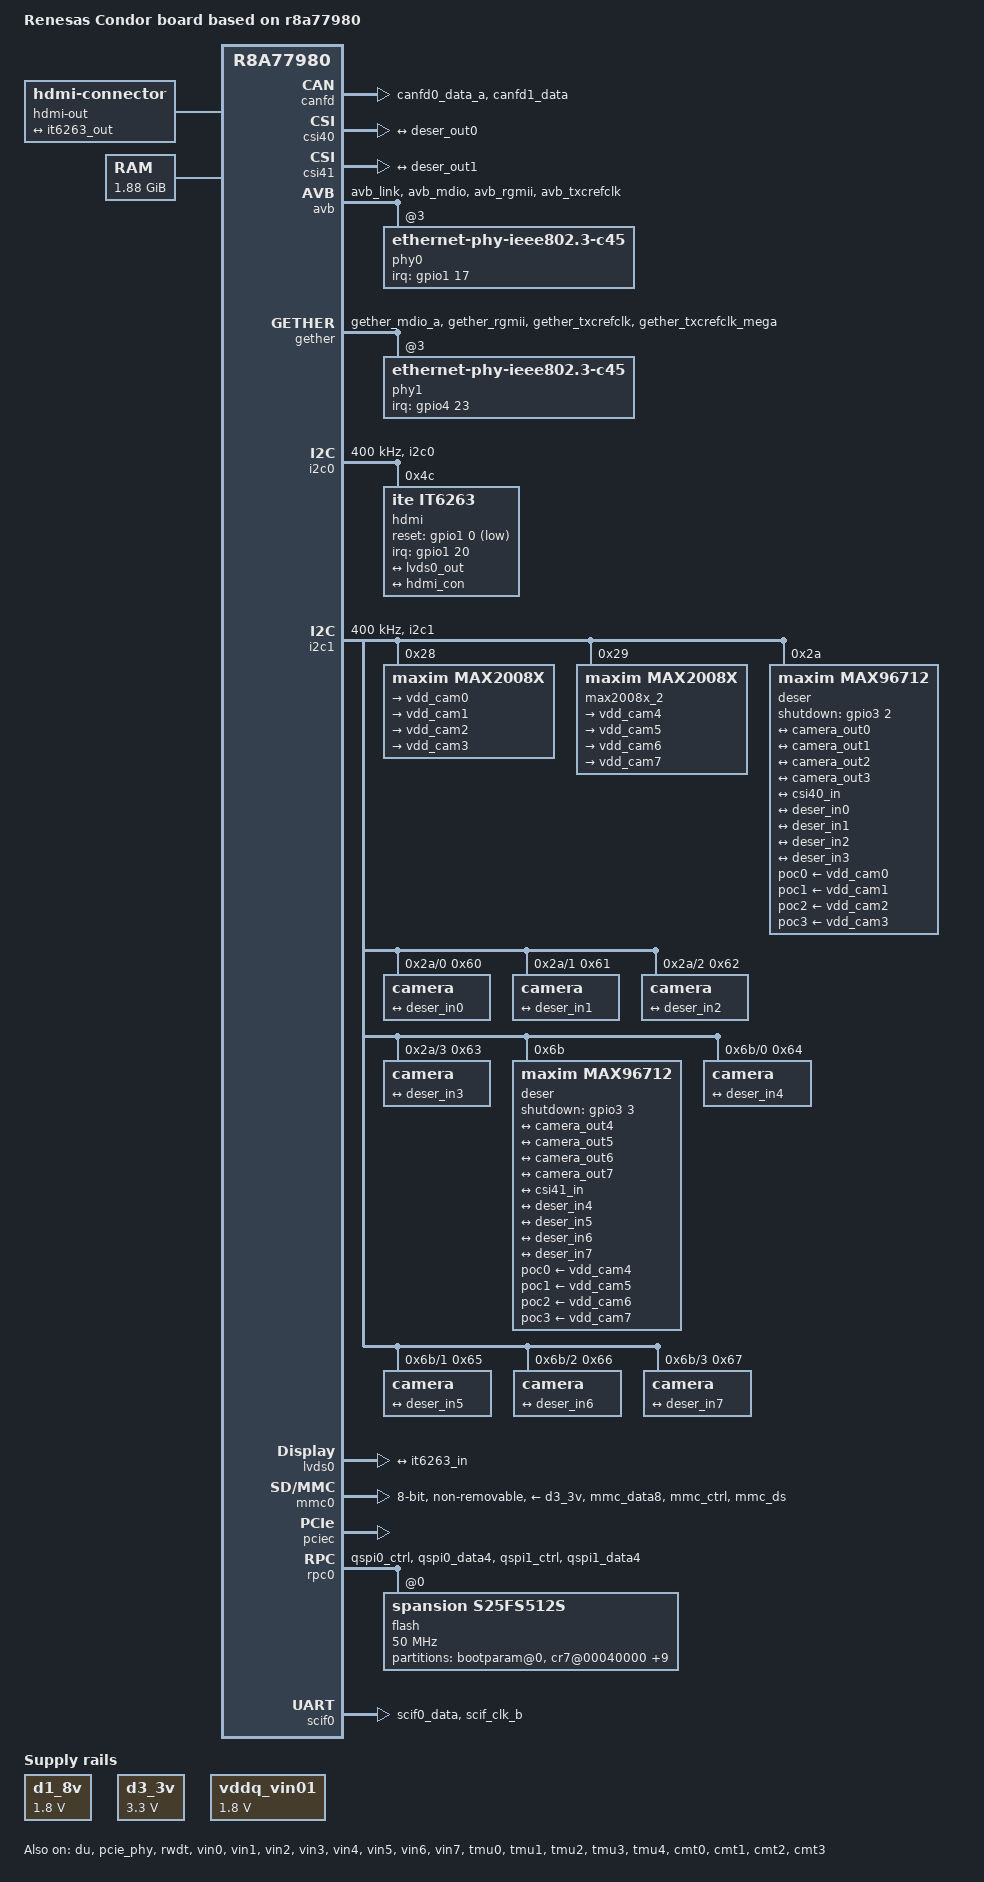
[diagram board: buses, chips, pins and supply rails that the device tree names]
// SPDX-License-Identifier: GPL-2.0
/*
 * Device Tree Source for the Condor board
 *
 * Copyright (C) 2018-2020 Renesas Electronics Corp.
 * Copyright (C) 2018-2020 Cogent Embedded, Inc.
 */

/dts-v1/;
#include "r8a77980.dtsi"
#include <dt-bindings/gpio/gpio.h>
#include "camera.dtsi"

#define CAMERA_OV10635 	0
#define CAMERA_AR0233		1
#define CAMERA_OX03F10		2

#define CAMERA_2A CAMERA_OX03F10		//video0 ~ video3
#define CAMERA_6B CAMERA_AR0233			//video4 ~ video7



/ {
	model = "Renesas Condor board based on r8a77980";
	compatible = "renesas,condor", "renesas,r8a77980";

	aliases {
		serial0 = &scif0;
		ethernet0 = &gether;
	};

	chosen {
		stdout-path = "serial0:115200n8";
	};

	d1_8v: regulator-2 {
		compatible = "regulator-fixed";
		regulator-name = "D1.8V";
		regulator-min-microvolt = <1800000>;
		regulator-max-microvolt = <1800000>;
		regulator-boot-on;
		regulator-always-on;
	};

	d3_3v: regulator-0 {
		compatible = "regulator-fixed";
		regulator-name = "D3.3V";
		regulator-min-microvolt = <3300000>;
		regulator-max-microvolt = <3300000>;
		regulator-boot-on;
		regulator-always-on;
	};

	hdmi-out {
		compatible = "hdmi-connector";
		type = "a";

		port {
			hdmi_con: endpoint {
				remote-endpoint = <&it6263_out>;
			};
		};
	};

	memory@48000000 {
		device_type = "memory";
		/* first 128MB is reserved for secure area. */
		reg = <0 0x48000000 0 0x78000000>;
	};

	reserved-memory {
		#address-cells = <2>;
		#size-cells = <2>;
		ranges;

		/* device specific region for contiguous allocations */
		mmp_reserved: linux,multimedia@7f000000 {
			compatible = "shared-dma-pool";
			reusable;
			reg = <0x00000000 0x7f000000 0x0 0x01000000>;
		};
	};

	reserved-memory {
		#address-cells = <2>;
		#size-cells = <2>;
		ranges;

		/* global autoconfigured region for contiguous allocations */
		linux,cma@58000000 {
			compatible = "shared-dma-pool";
			reusable;
			reg = <0x00000000 0x58000000 0x0 0x18000000>;
			linux,cma-default;
		};
	};

	mmngr {
		compatible = "renesas,mmngr";
		memory-region = <&mmp_reserved>;
	};

	mmngrbuf {
		compatible = "renesas,mmngrbuf";
	};

	vddq_vin01: regulator-1 {
		compatible = "regulator-fixed";
		regulator-name = "VDDQ_VIN01";
		regulator-min-microvolt = <1800000>;
		regulator-max-microvolt = <1800000>;
		regulator-boot-on;
		regulator-always-on;
	};

	x1_clk: x1-clock {
		compatible = "fixed-clock";
		#clock-cells = <0>;
		clock-frequency = <148500000>;
	};
	

};

&canfd {
	pinctrl-0 = <&canfd0_pins &canfd1_pins>;
	pinctrl-names = "default";
	status = "okay";

	channel0 {
		status = "okay";
	};

	channel1 {
		status = "okay";
	};
};

&csi40 {
	status = "okay";

	ports {
		#address-cells = <1>;
		#size-cells = <0>;

		port@0 {
			reg = <0>;

			csi40_in: endpoint {
				clock-lanes = <0>;
				data-lanes = <1 2 3 4>;
				remote-endpoint = <&deser_out0>;
			};
		};
	};
};

&csi41 {
	status = "okay";

	ports {
		#address-cells = <1>;
		#size-cells = <0>;

		port@0 {
			reg = <0>;

			csi41_in: endpoint {
				clock-lanes = <0>;
				data-lanes = <1 2 3 4>;
				remote-endpoint = <&deser_out1>;
			};
		};
	};
};

&du {
	clocks = <&cpg CPG_MOD 724>,
		 <&x1_clk>;
	clock-names = "du.0", "dclkin.0";
	status = "okay";
};

&extal_clk {
	clock-frequency = <16666666>;
};

&extalr_clk {
	clock-frequency = <32768>;
};

&avb {
	pinctrl-0 = <&avb_pins>;
	pinctrl-names = "default";

	phy-mode = "rgmii";
	phy-handle = <&phy0>;
	renesas,no-ether-link;
	status = "okay";

	phy0: eavb-phy@3 {
		compatible = "ethernet-phy-ieee802.3-c45";
		reg = <3>;
		interrupt-parent = <&gpio1>;
		interrupts = <17 IRQ_TYPE_LEVEL_LOW>;
	};
};

&gether {
	pinctrl-0 = <&gether_pins>;
	pinctrl-names = "default";

	phy-mode = "rgmii";
	phy-handle = <&phy1>;
	renesas,no-ether-link;
	status = "okay";

	phy1: ethernet-phy@3 {
		compatible = "ethernet-phy-ieee802.3-c45";
		reg = <3>;
		interrupt-parent = <&gpio4>;
		interrupts = <23 IRQ_TYPE_LEVEL_LOW>;
	};
};

&i2c0 {
	pinctrl-0 = <&i2c0_pins>;
	pinctrl-names = "default";

	status = "okay";
	clock-frequency = <400000>;

	hdmi@4c {
		compatible = "ite,it6263";
		reg = <0x4c>;
		interrupt-parent = <&gpio1>;
		interrupts = <20 IRQ_TYPE_EDGE_BOTH>;
		reset-gpio = <&gpio1 0 GPIO_ACTIVE_LOW>;
		status = "okay";

		ports {
			#address-cells = <1>;
			#size-cells = <0>;

			port@0 {
				reg = <0>;
				it6263_in: endpoint {
					remote-endpoint = <&lvds0_out>;
				};
			};

			port@1 {
				reg = <1>;
				it6263_out: endpoint {
					remote-endpoint = <&hdmi_con>;
				};
			};
		};
	};
};

&i2c1 {
	pinctrl-0 = <&i2c1_pins>;
	pinctrl-names = "default";
	#address-cells = <1>;
	#size-cells = <0>;
	status = "okay";
	clock-frequency = <400000>;

	max2008x@28 {
		compatible = "maxim,max2008x";
		reg = <0x28>;
		#io-channel-cells = <1>;

		regulators {
			#address-cells = <1>;
			#size-cells = <0>;

			vdd_cam0: SW0 {
				reg = <0>;
				regulator-name = "Camera-0";
			};
			vdd_cam1: SW1 {
				reg = <1>;
				regulator-name = "Camera-1";
			};
			vdd_cam2: SW2 {
				reg = <2>;
				regulator-name = "Camera-2";
			};
			vdd_cam3: SW3 {
				reg = <3>;
				regulator-name = "Camera-3";
			};
		};
	};

	max2008x_2@29 {
		compatible = "maxim,max2008x";
		reg = <0x29>;
		#io-channel-cells = <1>;

		regulators {
			#address-cells = <1>;
			#size-cells = <0>;

			vdd_cam4: SW0 {
				reg = <0>;
				regulator-name = "Camera-4";
			};
			vdd_cam5: SW1 {
				reg = <1>;
				regulator-name = "Camera-5";
			};
			vdd_cam6: SW2 {
				reg = <2>;
				regulator-name = "Camera-6";
			};
			vdd_cam7: SW3 {
				reg = <3>;
				regulator-name = "Camera-7";
			};
		};
	};

	deser@2a {
		compatible = "maxim,max96712";
		#address-cells = <1>;
		#size-cells = <0>;
		reg = <0x2a>;
		regs = <0x0c 0x0d 0x0e 0x0f>;
		shutdown-gpios = <&gpio3 2 GPIO_ACTIVE_HIGH>;
		maxim,links-mipi-map = <1 1 1 1>;
		
#if (CAMERA_2A == CAMERA_OV10635)
		maxim,dt = <0x1e>;
		maxim,gmsl = <1>;
		maxim,hsync = <0>;
		maxim,vsync = <0>;
		maxim,de = <1>;
#elif (CAMERA_2A == CAMERA_OX03F10)
		maxim,dt = <0x2b>;
		maxim,gmsl = <2>;
		maxim,hsync = <1>;
		maxim,vsync = <1>;
		maxim,de = <1>;
		maxim,gmsl-rate = <1>;//1 for 3Gbps, 2 for 6Gbps
#elif (CAMERA_2A == CAMERA_AR0233)
		maxim,dt = <0x2c>;
		maxim,gmsl = <2>;
		maxim,hsync = <1>;
		maxim,vsync = <1>;
		maxim,de = <1>;
		maxim,gmsl-rate = <2>;//1 for 3Gbps, 2 for 6Gbps
#endif

		poc0-supply = <&vdd_cam0>;
		poc1-supply = <&vdd_cam1>;
		poc2-supply = <&vdd_cam2>;
		poc3-supply = <&vdd_cam3>;

		ports {
			#address-cells = <1>;
			#size-cells = <0>;

			port@0 {
				reg = <0>;
				deser_in0: endpoint {
					remote-endpoint = <&camera_out0>;
				};
			};

			port@1 {
				reg = <1>;
				deser_in1: endpoint {
					remote-endpoint = <&camera_out1>;
				};
			};

			port@2 {
				reg = <2>;
				deser_in2: endpoint {
					remote-endpoint = <&camera_out2>;
				};
			};

			port@3 {
				reg = <3>;
				deser_in3: endpoint {
					remote-endpoint = <&camera_out3>;
				};
			};

			port@4 {
				reg = <4>;
				deser_out0: endpoint {
					clock-lanes = <0>;
					data-lanes = <1 2 3 4>;
					remote-endpoint = <&csi40_in>;
				};
			};
		};

		i2c@0 {
			#address-cells = <1>;
			#size-cells = <0>;
			reg = <0>;

			camera@60 {
				compatible = LVDS_CAMERA;
				reg = <0x60 0x0c>;

				port {
					camera_out0: endpoint {
						remote-endpoint = <&deser_in0>;
					};
				};
			};
		};

		i2c@1 {
			#address-cells = <1>;
			#size-cells = <0>;
			reg = <1>;

			camera@61 {
				compatible = LVDS_CAMERA;
				reg = <0x61 0x0d>;

				port {
					camera_out1: endpoint {
						remote-endpoint = <&deser_in1>;
					};
				};
			};
		};

		i2c@2 {
			#address-cells = <1>;
			#size-cells = <0>;
			reg = <2>;

			camera@62 {
				compatible = LVDS_CAMERA;
				reg = <0x62 0x0e>;

				port {
					camera_out2: endpoint {
						remote-endpoint = <&deser_in2>;
					};
				};
			};
		};

		i2c@3 {
			#address-cells = <1>;
			#size-cells = <0>;
			reg = <3>;

			camera@63 {
				compatible = LVDS_CAMERA;
				reg = <0x63 0x0f>;

				port {
					camera_out3: endpoint {
						remote-endpoint = <&deser_in3>;
					};
				};
			};
		};
	};
	
	deser@6b {
		compatible = "maxim,max96712";
		#address-cells = <1>;
		#size-cells = <0>;
		reg = <0x6b>;
		regs = <0x1c 0x1d 0x1e 0x1f>;
		shutdown-gpios = <&gpio3 3 GPIO_ACTIVE_HIGH>;
		maxim,links-mipi-map = <1 1 1 1>;

#if (CAMERA_6B == CAMERA_OV10635)
		maxim,dt = <0x1e>;
		maxim,gmsl = <1>;
		maxim,hsync = <0>;
		maxim,vsync = <0>;
		maxim,de = <1>;
#elif (CAMERA_6B == CAMERA_OX03F10)
		maxim,dt = <0x2b>;
		maxim,gmsl = <2>;
		maxim,hsync = <1>;
		maxim,vsync = <1>;
		maxim,de = <1>;
		maxim,gmsl-rate = <1>;//1 for 3Gbps, 2 for 6Gbps
#elif (CAMERA_6B == CAMERA_AR0233)
		maxim,dt = <0x2c>;
		maxim,gmsl = <2>;
		maxim,hsync = <1>;
		maxim,vsync = <1>;
		maxim,de = <1>;
		maxim,gmsl-rate = <2>;//1 for 3Gbps, 2 for 6Gbps
#endif

		poc0-supply = <&vdd_cam4>;
		poc1-supply = <&vdd_cam5>;
		poc2-supply = <&vdd_cam6>;
		poc3-supply = <&vdd_cam7>;

		ports {
			#address-cells = <1>;
			#size-cells = <0>;

			port@0 {
				reg = <0>;
				deser_in4: endpoint {
					remote-endpoint = <&camera_out4>;
				};
			};

			port@1 {
				reg = <1>;
				deser_in5: endpoint {
					remote-endpoint = <&camera_out5>;
				};
			};

			port@2 {
				reg = <2>;
				deser_in6: endpoint {
					remote-endpoint = <&camera_out6>;
				};
			};

			port@3 {
				reg = <3>;
				deser_in7: endpoint {
					remote-endpoint = <&camera_out7>;
				};
			};

			port@4 {
				reg = <4>;
				deser_out1: endpoint {
					clock-lanes = <0>;
					data-lanes = <1 2 3 4>;
					remote-endpoint = <&csi41_in>;
				};
			};
		};

		i2c@0 {
			#address-cells = <1>;
			#size-cells = <0>;
			reg = <0>;

			camera@64 {
				compatible = LVDS_CAMERA;
				reg = <0x64 0x1c>;

				port {
					camera_out4: endpoint {
						remote-endpoint = <&deser_in4>;
					};
				};
			};
		};

		i2c@1 {
			#address-cells = <1>;
			#size-cells = <0>;
			reg = <1>;

			camera@65 {
				compatible = LVDS_CAMERA;
				reg = <0x65 0x1d>;

				port {
					camera_out5: endpoint {
						remote-endpoint = <&deser_in5>;
					};
				};
			};
		};

		i2c@2 {
			#address-cells = <1>;
			#size-cells = <0>;
			reg = <2>;

			camera@66 {
				compatible = LVDS_CAMERA;
				reg = <0x66 0x1e>;

				port {
					camera_out6: endpoint {
						remote-endpoint = <&deser_in6>;
					};
				};
			};
		};

		i2c@3 {
			#address-cells = <1>;
			#size-cells = <0>;
			reg = <3>;

			camera@67 {
				compatible = LVDS_CAMERA;
				reg = <0x67 0x1f>;

				port {
					camera_out7: endpoint {
						remote-endpoint = <&deser_in7>;
					};
				};
			};
		};
	};
};

&lvds0 {
	status = "okay";

	ports {
		port@1 {
			lvds0_out: endpoint {
				remote-endpoint = <&it6263_in>;
			};
		};
	};
};

&mmc0 {
	pinctrl-0 = <&mmc_pins>;
	pinctrl-1 = <&mmc_pins>;
	pinctrl-names = "default", "state_uhs";

	vmmc-supply = <&d3_3v>;
	vqmmc-supply = <&vddq_vin01>;
	mmc-hs200-1_8v;
	bus-width = <8>;
	non-removable;
	status = "okay";
};

&pciec {
	status = "okay";
};

&pcie_bus_clk {
	clock-frequency = <100000000>;
};

&pcie_phy {
	status = "okay";
};

&pfc {
	canfd0_pins: canfd0 {
		groups = "canfd0_data_a";
		function = "canfd0";
	};

	canfd1_pins: canfd1 {
		groups = "canfd1_data";
		function = "canfd1";
	};

	avb_pins: avb {
		groups = "avb_link", "avb_mdio", "avb_rgmii", "avb_txcrefclk";
		function = "avb";
	};

	gether_pins: gether {
		groups = "gether_mdio_a", "gether_rgmii",
			 "gether_txcrefclk", "gether_txcrefclk_mega";
		function = "gether";
	};

	i2c0_pins: i2c0 {
		groups = "i2c0";
		function = "i2c0";
	};

	i2c1_pins: i2c1 {
		groups = "i2c1";
		function = "i2c1";
	};

	mmc_pins: mmc {
		groups = "mmc_data8", "mmc_ctrl", "mmc_ds";
		function = "mmc";
		power-source = <1800>;
	};

	qspi0_pins: qspi0 {
		groups = "qspi0_ctrl", "qspi0_data4";
		function = "qspi0";
	};

	qspi1_pins: qspi1 {
		groups = "qspi1_ctrl", "qspi1_data4";
		function = "qspi1";
	};

	scif0_pins: scif0 {
		groups = "scif0_data";
		function = "scif0";
	};

	scif_clk_pins: scif_clk {
		groups = "scif_clk_b";
		function = "scif_clk";
	};
};

&rpc0 {
	pinctrl-0 = <&qspi0_pins &qspi1_pins>;
	pinctrl-names = "default";

	status = "okay";

	flash@0 {
		compatible = "spansion,s25fs512s", "jedec,spi-nor";
		reg = <0>;
		spi-max-frequency = <50000000>;
		spi-rx-bus-width = <4>;

		partitions {
			compatible = "fixed-partitions";
			#address-cells = <1>;
			#size-cells = <1>;

			bootparam@0 {
				reg = <0x00000000 0x040000>;
				read-only;
			};
			cr7@00040000 {
				reg = <0x00040000 0x080000>;
				read-only;
			};
			cert_header_sa3@000C0000 {
				reg = <0x000C0000 0x080000>;
				read-only;
			};
			bl2@00140000 {
				reg = <0x00140000 0x040000>;
				read-only;
			};
			cert_header_sa6@00180000 {
				reg = <0x00180000 0x040000>;
				read-only;
			};
			bl31@001C0000 {
				reg = <0x001C0000 0x480000>;
				read-only;
			};
			uboot@00640000 {
				reg = <0x00640000 0x0C0000>;
				read-only;
			};
			uboot-env@00700000 {
				reg = <0x00700000 0x040000>;
				read-only;
			};
			dtb@00740000 {
				reg = <0x00740000 0x080000>;
			};
			kernel@007C0000 {
				reg = <0x007C0000 0x1400000>;
			};
			user@01BC0000 {
				reg = <0x01BC0000 0x2440000>;
			};
		};
	};
};

&rwdt {
	timeout-sec = <60>;
	status = "okay";
};

&scif0 {
	pinctrl-0 = <&scif0_pins>, <&scif_clk_pins>;
	pinctrl-names = "default";

	status = "okay";
};

&scif_clk {
	clock-frequency = <14745600>;
};

&vin0 {
	status = "okay";
};

&vin1 {
	status = "okay";
};

&vin2 {
	status = "okay";
};

&vin3 {
	status = "okay";
};

&vin4 {
	status = "okay";
};

&vin5 {
	status = "okay";
};

&vin6 {
	status = "okay";
};

&vin7 {
	status = "okay";
};

&tmu0 {
	status = "okay";
};

&tmu1 {
	status = "okay";
};

&tmu2 {
	status = "okay";
};

&tmu3 {
	status = "okay";
};

&tmu4 {
	status = "okay";
};

&cmt0 {
	status = "okay";
};

&cmt1 {
	status = "okay";
};

&cmt2 {
	status = "okay";
};

&cmt3 {
	status = "okay";
};
